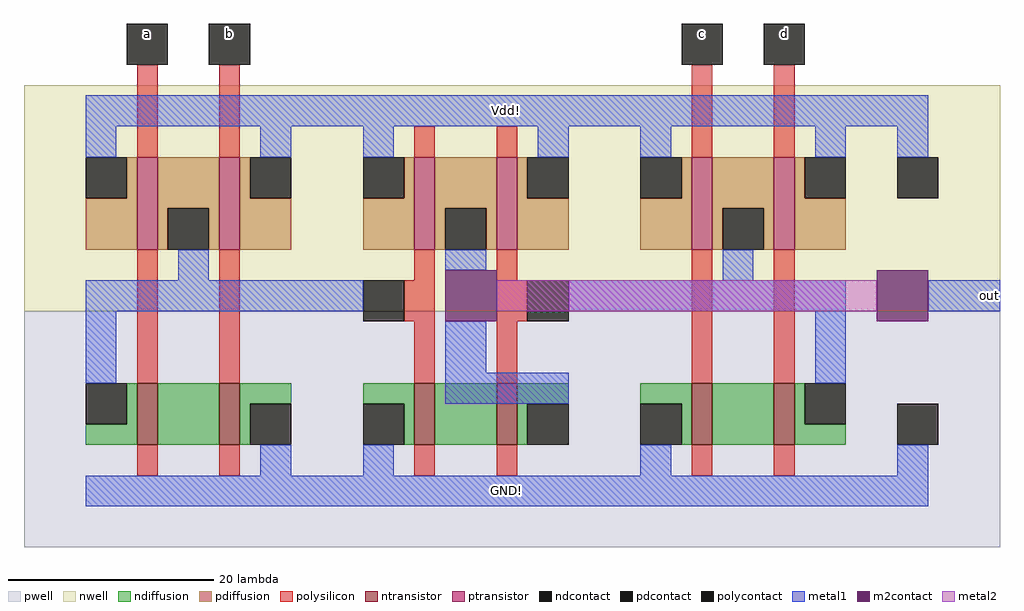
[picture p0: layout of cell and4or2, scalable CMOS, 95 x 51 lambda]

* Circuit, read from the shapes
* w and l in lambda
.subckt and4or2 GND! Vdd! a b c d out
M1 n1 a n2 VSUBS nfet w=6 l=2
M2 GND! b n1 VSUBS nfet w=6 l=2
M3 n3 n2 GND! VSUBS nfet w=6 l=2
M4 out n4 n3 VSUBS nfet w=6 l=2
M5 n5 c GND! VSUBS nfet w=6 l=2
M6 n4 d n5 VSUBS nfet w=6 l=2
M7 n2 a Vdd! n6 pfet w=9 l=2
M8 Vdd! b n2 n6 pfet w=9 l=2
M9 out n2 Vdd! n6 pfet w=9 l=2
M10 Vdd! n4 out n6 pfet w=9 l=2
M11 n4 c Vdd! n6 pfet w=9 l=2
M12 Vdd! d n4 n6 pfet w=9 l=2
.ends

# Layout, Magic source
magic
tech scmos
<< nwell >>
rect 42 32 137 54
<< pwell >>
rect 42 9 137 32
<< ntransistor >>
rect 53 19 55 25
rect 61 19 63 25
rect 80 19 82 25
rect 88 19 90 25
rect 107 19 109 25
rect 115 19 117 25
<< ptransistor >>
rect 53 38 55 47
rect 61 38 63 47
rect 80 38 82 47
rect 88 38 90 47
rect 107 38 109 47
rect 115 38 117 47
<< ndiffusion >>
rect 52 21 53 25
rect 48 19 53 21
rect 55 19 61 25
rect 63 23 68 25
rect 63 19 64 23
rect 75 23 80 25
rect 79 19 80 23
rect 82 19 88 25
rect 90 23 95 25
rect 90 19 91 23
rect 102 23 107 25
rect 106 19 107 23
rect 109 19 115 25
rect 117 21 118 25
rect 117 19 122 21
<< pdiffusion >>
rect 52 43 53 47
rect 48 38 53 43
rect 55 42 61 47
rect 55 38 56 42
rect 60 38 61 42
rect 63 43 64 47
rect 63 38 68 43
rect 79 43 80 47
rect 75 38 80 43
rect 82 42 88 47
rect 82 38 83 42
rect 87 38 88 42
rect 90 43 91 47
rect 90 38 95 43
rect 106 43 107 47
rect 102 38 107 43
rect 109 42 115 47
rect 109 38 110 42
rect 114 38 115 42
rect 117 43 118 47
rect 117 38 122 43
<< ndcontact >>
rect 48 21 52 25
rect 64 19 68 23
rect 75 19 79 23
rect 91 19 95 23
rect 102 19 106 23
rect 118 21 122 25
rect 127 19 131 23
<< pdcontact >>
rect 48 43 52 47
rect 56 38 60 42
rect 64 43 68 47
rect 75 43 79 47
rect 83 38 87 42
rect 91 43 95 47
rect 102 43 106 47
rect 110 38 114 42
rect 118 43 122 47
rect 127 43 131 47
<< polysilicon >>
rect 53 47 55 56
rect 61 47 63 56
rect 80 47 82 50
rect 88 47 90 50
rect 107 47 109 56
rect 115 47 117 56
rect 53 25 55 38
rect 61 25 63 38
rect 80 35 82 38
rect 79 31 82 35
rect 80 25 82 31
rect 88 35 90 38
rect 88 31 91 35
rect 88 25 90 31
rect 107 25 109 38
rect 115 25 117 38
rect 53 16 55 19
rect 61 16 63 19
rect 80 16 82 19
rect 88 16 90 19
rect 107 16 109 19
rect 115 16 117 19
<< polycontact >>
rect 52 56 56 60
rect 60 56 64 60
rect 106 56 110 60
rect 114 56 118 60
rect 75 31 79 35
rect 91 31 95 35
<< metal1 >>
rect 48 50 130 53
rect 48 47 51 50
rect 65 47 68 50
rect 75 47 78 50
rect 92 47 95 50
rect 102 47 105 50
rect 119 47 122 50
rect 127 47 130 50
rect 57 35 60 38
rect 83 36 87 38
rect 48 32 75 35
rect 48 25 51 32
rect 110 35 113 38
rect 95 32 122 35
rect 83 26 87 31
rect 83 23 95 26
rect 119 25 122 32
rect 130 32 137 35
rect 65 16 68 19
rect 75 16 78 19
rect 102 16 105 19
rect 127 16 130 19
rect 48 13 130 16
<< m2contact >>
rect 83 31 88 36
rect 125 31 130 36
<< metal2 >>
rect 88 32 125 35
<< labels >>
rlabel metal1 135 32 137 35 3 out
rlabel metal1 48 50 130 53 1 Vdd!
rlabel metal1 48 13 130 16 5 GND!
rlabel polycontact 52 58 56 60 1 a
rlabel polycontact 60 58 64 60 1 b
rlabel polycontact 106 58 110 60 1 c
rlabel polycontact 114 58 118 60 1 d
<< end >>
